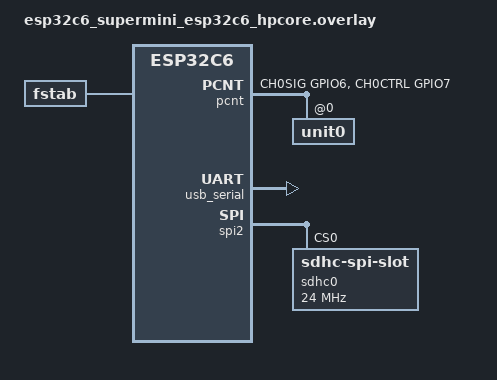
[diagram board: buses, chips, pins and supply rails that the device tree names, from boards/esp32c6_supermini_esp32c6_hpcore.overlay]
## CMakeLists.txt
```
cmake_minimum_required(VERSION 3.20.0)

if("${CMAKE_BUILD_TYPE}" STREQUAL "Debug")
    list(APPEND EXTRA_CONF_FILE debug.conf)
    set(NO_BUILD_TYPE_WARNING ON)
endif()

find_package(Zephyr REQUIRED HINTS $ENV{ZEPHYR_BASE})

project(app LANGUAGES C)
target_sources(app PRIVATE
    src/main.c
    src/sdcard.c
    src/audio.c
    src/mp3.c
    src/knob_uart.c
    src/libhelix-mp3/mp3dec.c
    src/libhelix-mp3/mp3tabs.c
    src/libhelix-mp3/real/bitstream.c
    src/libhelix-mp3/real/buffers.c
    src/libhelix-mp3/real/dct32.c
    src/libhelix-mp3/real/dequant.c
    src/libhelix-mp3/real/dqchan.c
    src/libhelix-mp3/real/huffman.c
    src/libhelix-mp3/real/hufftabs.c
    src/libhelix-mp3/real/imdct.c
    src/libhelix-mp3/real/polyphase.c
    src/libhelix-mp3/real/scalfact.c
    src/libhelix-mp3/real/stproc.c
    src/libhelix-mp3/real/subband.c
    src/libhelix-mp3/real/trigtabs.c
)
target_include_directories(app PRIVATE src/libhelix-mp3/pub)
```

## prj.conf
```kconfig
# CONFIG_IDLE_STACK_SIZE=4096
# CONFIG_SYSTEM_WORKQUEUE_STACK_SIZE=4096
# CONFIG_MAIN_STACK_SIZE=8192
CONFIG_SPEED_OPTIMIZATIONS=y
CONFIG_SENSOR=y

CONFIG_SPI=y
CONFIG_DISK_ACCESS=y
CONFIG_DISK_DRIVERS=y
CONFIG_FILE_SYSTEM=y

CONFIG_FAT_FILESYSTEM_ELM=y
CONFIG_FS_FATFS_FSTAB_AUTOMOUNT=y
CONFIG_FS_FATFS_MOUNT_MKFS=n
CONFIG_FS_FATFS_MAX_SS=512
CONFIG_FS_FATFS_MIN_SS=512
CONFIG_FS_FATFS_EXFAT=y
CONFIG_FS_FATFS_LBA64=y
CONFIG_FS_FATFS_LFN=y
CONFIG_FS_FATFS_NUM_FILES=104

CONFIG_MAIN_STACK_SIZE=4096

CONFIG_I2S=y
CONFIG_DMA=y
CONFIG_ADC=y

CONFIG_I2S_ESP32_TX_BLOCK_COUNT=8
CONFIG_I2S_ESP32_RX_BLOCK_COUNT=0
CONFIG_I2S_ESP32_ALLOWED_EMPTY_TX_QUEUE_DEFERRAL_TIME_MS=0
CONFIG_ENTROPY_GENERATOR=y
CONFIG_ENTROPY_ESP32_RNG=y

CONFIG_HEAP_MEM_POOL_SIZE=49152
```

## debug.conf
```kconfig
# Copyright (c) 2021 Nordic Semiconductor ASA
# SPDX-License-Identifier: Apache-2.0
#
# This is a Kconfig fragment which can be used to enable debug-related options
# in the application. See the README for more details.

# compiler
# CONFIG_DEBUG_OPTIMIZATIONS=y
# CONFIG_SIZE_OPTIMIZATIONS=y

CONFIG_THREAD_NAME=y

# logging
CONFIG_LOG=y
CONFIG_LOG_SPEED=y
CONFIG_LOG_BUFFER_SIZE=8192
CONFIG_LOG_BACKEND_SHOW_COLOR=y
CONFIG_LOG_INFO_COLOR_GREEN=y

# CONFIG_LOG_BACKEND_RTT=y
CONFIG_LOG_BACKEND_UART=y
CONFIG_LOG_BACKEND_UART_ASYNC=y
CONFIG_LOG_BACKEND_UART_BUFFER_SIZE=64

CONFIG_HW_STACK_PROTECTION=y
CONFIG_STACK_CANARIES=y
CONFIG_DEBUG_THREAD_INFO=y

# CONFIG_USE_SEGGER_RTT=y
# CONFIG_SEGGER_DEBUGMON=y

CONFIG_CONSOLE=y
CONFIG_UART_CONSOLE=y
# CONFIG_RTT_CONSOLE=y

# shell
CONFIG_SHELL=n
# CONFIG_SHELL_BACKEND_RTT=y
CONFIG_SHELL_BACKEND_SERIAL=y
CONFIG_SHELL_VT100_COLORS=y
CONFIG_SHELL_VT100_COMMANDS=y
# CONFIG_AUDIO_CODEC_SHELL=y

# Log levels
CONFIG_APP_LOG_LEVEL_DBG=y
# CONFIG_REGULATOR_LOG_LEVEL_DBG=y
# CONFIG_DISPLAY_LOG_LEVEL_DBG=y
# CONFIG_AUDIO_CODEC_LOG_LEVEL_DBG=y
CONFIG_I2S_LOG_LEVEL_WRN=y

# CONFIG_USBD_MIDI2_LOG_LEVEL_INF=y
# CONFIG_USBD_LOG_LEVEL_WRN=y
# CONFIG_USB_DRIVER_LOG_LEVEL_DBG=n
# CONFIG_UDC_DRIVER_LOG_LEVEL_DBG=n

CONFIG_ASSERT=y
# CONFIG_USE_STM32_ASSERT=y

# CONFIG_UART_LOG_LEVEL_DBG=y
# CONFIG_I2C_SHELL=y
```

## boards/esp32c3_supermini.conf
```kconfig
# C3 has no ADC or encoder
CONFIG_ADC=n
CONFIG_SENSOR=n

# UART for STM32 knob controller
CONFIG_SERIAL=y
CONFIG_UART_INTERRUPT_DRIVEN=y

# More I2S TX queue depth and tolerate brief empty periods without error recovery
# CONFIG_I2S_ESP32_TX_BLOCK_COUNT=3
CONFIG_I2S_ESP32_ALLOWED_EMPTY_TX_QUEUE_DEFERRAL_TIME_MS=10
```

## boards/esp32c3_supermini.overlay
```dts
/*
 * Application-specific device tree overlay for ESP32-C3 SuperMini
 */

/ {
	fstab {
		compatible = "zephyr,fstab";
		ffs1: ffs1 {
			compatible = "zephyr,fstab,fatfs";
			automount;
			disk-access;
			mount-point = "/SD:";
		};
	};

	zephyr,user {
		stm32-uart = <&uart1>;
	};
};

&pinctrl {
	uart0_default: uart0_default {
		group1 {
			pinmux = <UART0_TX_GPIO21>;
			output-high;
		};

		group2 {
			pinmux = <UART0_RX_GPIO20>;
			bias-pull-up;
		};
	};

	spim2_default: spim2_default {
		group1 {
			pinmux = <SPIM2_MISO_GPIO1>,
				 <SPIM2_SCLK_GPIO3>,
				 <SPIM2_CSEL_GPIO2>;
		};

		group2 {
			pinmux = <SPIM2_MOSI_GPIO4>;
			output-low;
		};
	};

	uart1_default: uart1_default {
		group1 {
			pinmux = <UART1_TX_GPIO0>;
			output-high;
		};

		group2 {
			pinmux = <UART1_RX_GPIO10>;
			bias-pull-up;
		};
	};

	i2s_default: i2s_default {
		group1 {
			pinmux = <I2S_O_BCK_GPIO7>,
				 <I2S_O_WS_GPIO5>,
				 <I2S_O_SD_GPIO6>;
			output-enable;
		};
	};
};

&trng0 {
	status = "okay";
};

&uart0 {
	status = "okay";
	current-speed = <115200>;
	pinctrl-0 = <&uart0_default>;
	pinctrl-names = "default";
};

&uart1 {
	status = "okay";
	// status = "disabled";
	current-speed = <115200>;
	pinctrl-0 = <&uart1_default>;
	pinctrl-names = "default";
};

&i2s {
	pinctrl-0 = <&i2s_default>;
	pinctrl-names = "default";
	status = "okay";

	dmas = <&dma 3>;
	dma-names = "tx";
};

&i2c0 {
	status = "disabled";
};

&spi2 {
	dmas = <&dma 0>, <&dma 1>;
	dma-names = "tx", "rx";

	sdhc0: sdhc@0 {
		compatible = "zephyr,sdhc-spi-slot";
		reg = <0>;
		status = "okay";
		spi-max-frequency = <32000000>;
		mmc {
			compatible = "zephyr,sdmmc-disk";
			disk-name = "SD";
			status = "okay";
		};
	};
};

&dma {
	status = "okay";
};
```

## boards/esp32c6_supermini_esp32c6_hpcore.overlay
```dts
/*
 * Application-specific device tree overlay for ESP32-C6 SuperMini
 */

/ {
	chosen {
		zephyr,console = &usb_serial;
		zephyr,shell-uart = &usb_serial;
	};

	aliases {
		qdec0 = &pcnt;
	};

	fstab {
		compatible = "zephyr,fstab";
		ffs1: ffs1 {
			compatible = "zephyr,fstab,fatfs";
			automount;
			disk-access;
			mount-point = "/SD:";
		};
	};
};

&pinctrl {
	pcnt_default: pcnt_default {
		group1 {
			pinmux = <PCNT0_CH0SIG_GPIO6>,
				 <PCNT0_CH0CTRL_GPIO7>;
			bias-pull-up;
		};
	};

	uart0_default: uart0_default {
		group1 {
			pinmux = <UART0_TX_GPIO16>;
			output-high;
		};

		group2 {
			pinmux = <UART0_RX_GPIO17>;
			bias-pull-up;
		};
	};

	spim2_default: spim2_default {
		group1 {
			pinmux = <SPIM2_MISO_GPIO1>,
				 <SPIM2_SCLK_GPIO2>,
				 <SPIM2_CSEL_GPIO4>;
		};

		group2 {
			pinmux = <SPIM2_MOSI_GPIO3>;
			output-low;
		};
	};

	i2s_default: i2s_default {
		group1 {
			pinmux = <I2S_O_BCK_GPIO19>,
				 <I2S_O_WS_GPIO18>,
				 <I2S_O_SD_GPIO20>;
			output-enable;
		};
	};
};

&pcnt {
	pinctrl-0 = <&pcnt_default>;
	pinctrl-names = "default";
	status = "okay";
	#address-cells = <1>;
	#size-cells = <0>;
	unit0@0 {
		reg = <0>;
		#address-cells = <1>;
		#size-cells = <0>;
		filter = <100>;
		channelA@0 {
			reg = <0>;
			sig-pos-mode = <2>;
			sig-neg-mode = <1>;
			ctrl-h-mode = <0>;
			ctrl-l-mode = <1>;
		};
	};
};

&usb_serial {
	status = "okay";
};

&spi2 {
	dmas = <&dma 0>, <&dma 1>;
	dma-names = "tx", "rx";

	sdhc0: sdhc@0 {
		compatible = "zephyr,sdhc-spi-slot";
		reg = <0>;
		status = "okay";
		spi-max-frequency = <24000000>;
		mmc {
			compatible = "zephyr,sdmmc-disk";
			disk-name = "SD";
			status = "okay";
		};
	};
};
```

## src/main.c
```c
#include <zephyr/logging/log.h>
#include <zephyr/kernel.h>
#include <zephyr/device.h>

#include "sdcard.h"
#include "audio.h"
#include "knob_uart.h"
#include "zephyr/sys/util.h"

LOG_MODULE_REGISTER(app, CONFIG_APP_LOG_LEVEL);

#define ENC_STEP_COUNT 100

static int position = 0;
static int file_count = 0;

static void on_encoder_position(int p)
{
	position = p;
}

#if DT_NODE_HAS_PROP(DT_PATH(zephyr_user), io_channels)
#include <zephyr/drivers/adc.h>

static const struct adc_dt_spec volume_adc = ADC_DT_SPEC_GET_BY_IDX(DT_PATH(zephyr_user), 0);
static int16_t adc_raw_buf;
static struct adc_sequence adc_seq = {
	.buffer = &adc_raw_buf,
	.buffer_size = sizeof(adc_raw_buf),
};

static uint16_t read_volume_q8(void)
{
	int rc = adc_read_dt(&volume_adc, &adc_seq);
	if (rc < 0) {
		return 255; /* full volume on error */
	}
	int32_t val = CLAMP((int32_t)adc_raw_buf, 0, 4095);
	return (uint16_t)((val * 256) / 4095);
}

#else

static uint16_t read_volume_q8(void)
{
	return 256; /* full volume when no ADC */
}

#endif /* DT_NODE_HAS_PROP(DT_PATH(zephyr_user), io_channels) */

#if DT_HAS_ALIAS(qdec0)
#include <zephyr/drivers/sensor.h>
#endif

int main(void)
{
	LOG_INF("Hello world");
	knob_uart_init(on_encoder_position);
	sdcard_init();
	audio_init();

	file_count = sdcard_get_audio_count();

#if DT_NODE_HAS_PROP(DT_PATH(zephyr_user), io_channels)
	if (!adc_is_ready_dt(&volume_adc)) {
		LOG_ERR("ADC not ready");
		return -ENODEV;
	}

	int rc = adc_channel_setup_dt(&volume_adc);
	if (rc < 0) {
		LOG_ERR("ADC channel setup failed: %d", rc);
		return rc;
	}

	adc_sequence_init_dt(&volume_adc, &adc_seq);
#endif

#if DT_HAS_ALIAS(qdec0)
	const struct device *const qdec = DEVICE_DT_GET(DT_ALIAS(qdec0));

	if (!device_is_ready(qdec)) {
		LOG_INF("Qdec device is not ready");
		return 0;
	}
#endif

	int last_position = -1;
	bool idle = false;
	int64_t zero_vol_since = 0;

	while (true) {
		k_msleep(idle ? 1000 : 10);

		uint16_t vol = read_volume_q8();
		audio_set_volume(vol);

		if (!idle) {
			/* Track how long volume has been zero */
			if (vol == 0) {
				if (zero_vol_since == 0) {
					zero_vol_since = k_uptime_get();
				} else if (k_uptime_get() - zero_vol_since >= 5000) {
					audio_stop();
					idle = true;
					LOG_INF("Entering idle mode");
					continue;
				}
			} else {
				zero_vol_since = 0;
			}
		} else {
			/* Idle: check if volume came back */
			if (vol > 0) {
				idle = false;
				zero_vol_since = 0;
				audio_start();
				/* Re-select current file */
				if (file_count > 0 && last_position >= 0) {
					int i = last_position % file_count;
					audio_set_file(sdcard_get_audio_info(i));
				}
				LOG_INF("Leaving idle mode");
			}
		}

#if DT_HAS_ALIAS(qdec0)
		int enc_rc = sensor_sample_fetch(qdec);
		if (enc_rc != 0) {
			LOG_INF("Failed to fetch sample (%d)", enc_rc);
			return 0;
		}

		struct sensor_value val;

		enc_rc = sensor_channel_get(qdec, SENSOR_CHAN_ROTATION, &val);
		if (enc_rc != 0) {
			LOG_INF("Failed to get data (%d)", enc_rc);
			return 0;
		}
		int p = (((val.val1 / 2) % ENC_STEP_COUNT) + ENC_STEP_COUNT) % ENC_STEP_COUNT;

		on_encoder_position(p);
#endif /* DT_HAS_ALIAS(qdec0) */

 		if (file_count <= 0) {
 			continue;
 		}

 		if (position != last_position) {
			int i = position % file_count;
			struct sdcard_audio_info *info = sdcard_get_audio_info(i);
			LOG_INF("position %d, File %d: %s", position, i, info->path);
			audio_set_file(info);
 			last_position = position;
 		}
	}

	return 0;
}
```

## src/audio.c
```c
#include <zephyr/logging/log.h>
#include <zephyr/kernel.h>
#include <zephyr/device.h>
#include <zephyr/drivers/i2s.h>
#include <zephyr/fs/fs.h>
#include <stdlib.h>
#include <string.h>

#include "audio.h"
#include "mp3.h"
#include "zephyr/random/random.h"

LOG_MODULE_REGISTER(audio, CONFIG_APP_LOG_LEVEL);

#define BLOCK_SIZE        (4096 * 2)
#define BLOCK_COUNT       8
#define DECODE_STACK_SIZE (4096 * 2)
#define I2S_STACK_SIZE    (4096 * 2)
#define DECODE_PRIO       (K_HIGHEST_APPLICATION_THREAD_PRIO + 1)
#define I2S_PRIO          K_HIGHEST_APPLICATION_THREAD_PRIO
#define PREQUEUE_BLOCKS   2

/* PCM pipe: stream of interleaved stereo int16_t pairs, ~4 frames of headroom */
// #define PCM_PIPE_SIZE (MP3_PCM_BUF_SAMPLES * sizeof(int16_t) * 2)

K_MEM_SLAB_DEFINE(i2s_mem_slab, BLOCK_SIZE, BLOCK_COUNT, 64);
// K_PIPE_DEFINE(pcm_pipe, PCM_PIPE_SIZE, 64);

static const struct device *i2s_dev = DEVICE_DT_GET(DT_NODELABEL(i2s));

/* Volume: written from main thread, read from i2s thread */
static volatile uint16_t current_volume_q8 = 0;

/* File change: written from API, consumed by decode thread */
static struct sdcard_audio_info *volatile pending_info;
static struct k_sem file_change_sem;

/* Synchronized playback position (stereo samples per channel pushed into pipe) */
static uint64_t global_sample_counter;

/* --- Shared state --- */

static bool i2s_started;
static bool stopped;
static int queued;

/* --- Helpers --- */

static int configure_i2s()
{
	struct i2s_config cfg = {
		.word_size = 16,
		.channels = 2,
		.format = I2S_FMT_DATA_FORMAT_I2S,
		.options = I2S_OPT_BIT_CLK_MASTER | I2S_OPT_FRAME_CLK_MASTER,
		.frame_clk_freq = 44100,
		.mem_slab = &i2s_mem_slab,
		.block_size = BLOCK_SIZE,
		.timeout = 10,
	};

	return i2s_configure(i2s_dev, I2S_DIR_TX, &cfg);
}

/* --- Decode thread --- */

static void decode_thread_fn(void *p1, void *p2, void *p3)
{
	ARG_UNUSED(p1);
	ARG_UNUSED(p2);
	ARG_UNUSED(p3);

	global_sample_counter = sys_rand32_get();

	static int16_t pcm_buf[MP3_PCM_BUF_SAMPLES];

	if (mp3_decoder_init() < 0) {
		return;
	}

	/* Wait for first file */
	k_sem_take(&file_change_sem, K_FOREVER);

	struct sdcard_audio_info *info = pending_info;
	pending_info = NULL;

	if (mp3_switch_file(info, global_sample_counter) < 0) {
		LOG_ERR("Failed to open initial file");
		return;
	}

	while (true) {
		int pcm_buf_avail = 0;
		// k_msleep(1)
		/* Check for file change (non-blocking) */
		if (k_sem_take(&file_change_sem, K_NO_WAIT) == 0) {
			uint32_t t_switch_start = k_uptime_ticks();

			info = pending_info;
			pending_info = NULL;
			if (mp3_switch_file(info, global_sample_counter) < 0) {
				LOG_ERR("Failed to switch file, continuing");
			}
			uint32_t t_opened = k_uptime_ticks();

			pcm_buf_avail = mp3_decode_frame(pcm_buf);
			uint32_t t_first_decode = k_uptime_ticks();

			LOG_INF("file switch: open=%u us, first_decode=%u us, total=%u us",
				k_ticks_to_us_near32(t_opened - t_switch_start),
				k_ticks_to_us_near32(t_first_decode - t_opened),
				k_ticks_to_us_near32(k_uptime_ticks() - t_switch_start));
		} else {
			pcm_buf_avail = mp3_decode_frame(pcm_buf);
		}

		if (pcm_buf_avail == 0) {
			LOG_ERR("No PCM Bytes");
			k_msleep(1);
			continue;
		}

		// Apply replaygain if negative
		// if (info->rg_multiplier_q16 < (0xFFFF)) {
		// 	for (int i = 0; i < pcm_buf_avail; i++) {
		// 		pcm_buf[i] = ((int32_t)pcm_buf[i] * info->rg_multiplier_q16) >> 16;
		// 	}
		// }

		// size_t bytes = pcm_buf_avail * sizeof(int16_t);
		// int wrote = k_pipe_write(&pcm_pipe, (uint8_t *)pcm_buf, bytes, K_FOREVER);
		// if (wrote != bytes) {
		// 	LOG_WRN("Wrote wrong number of bytes: %d != %d", wrote, bytes);
		// }

		/* Track decoded samples per channel for seek-on-switch.
		 * pcm_buf_avail is total interleaved int16_t (L+R), so /2 per channel. */
		global_sample_counter += pcm_buf_avail / 2;
		// k_msleep(20);
	}
}

/* --- I2S thread --- */

static void i2s_thread_fn(void *p1, void *p2, void *p3)
{
	ARG_UNUSED(p1);
	ARG_UNUSED(p2);
	ARG_UNUSED(p3);

	int volume = 0;
	uint32_t gain_q16 = 0;

	global_sample_counter = sys_rand32_get();

	static int16_t carry_buf[MP3_PCM_BUF_SAMPLES];
	static int carry_avail = 0;
	const int samples_per_block = BLOCK_SIZE / sizeof(int16_t);

	if (mp3_decoder_init() < 0) {
		return;
	}

	/* Wait for first file */
	k_sem_take(&file_change_sem, K_FOREVER);

	struct sdcard_audio_info *info = pending_info;
	pending_info = NULL;

	if (mp3_switch_file(info, global_sample_counter) < 0) {
		LOG_ERR("Failed to open initial file");
		return;
	}

	int rc = configure_i2s();
	if (rc < 0) {
		LOG_ERR("I2S configure failed: %d", rc);
	}

	while (true) {
		// static int16_t interbuf[BLOCK_SIZE / sizeof(int32_t)];
		//

		int16_t *buf;
		int rc = k_mem_slab_alloc(&i2s_mem_slab, (void **)&buf, K_MSEC(1000));
		if (rc < 0) {
			LOG_ERR("Buffer alloc failed: %d", rc);
			// k_msleep(1);
			continue;
		}

		// k_msleep(1)
		/* Check for file change (non-blocking) */
		if (k_sem_take(&file_change_sem, K_NO_WAIT) == 0) {
			uint32_t t_switch_start = k_uptime_ticks();

			info = pending_info;
			pending_info = NULL;
			if (mp3_switch_file(info, global_sample_counter) < 0) {
				LOG_ERR("Failed to switch file, continuing");
			}
			uint32_t t_opened = k_uptime_ticks();

			// pcm_buf_avail = mp3_decode_frame(carry_buf);
			// uint32_t t_first_decode = k_uptime_ticks();

			// LOG_INF("file switch: open=%u us, first_decode=%u us, total=%u us",
			// 	k_ticks_to_us_near32(t_opened - t_switch_start),
			// 	k_ticks_to_us_near32(t_first_decode - t_opened),
			// 	k_ticks_to_us_near32(k_uptime_ticks() - t_switch_start));
		}

		/* Fill slab block: copy carry from previous iteration, then decode
		 * directly into the slab buffer. Use carry_buf only for the boundary
		 * frame that would overflow the block. */
		int filled = 0;

		if (carry_avail > 0) {
			int to_copy = MIN(carry_avail, samples_per_block);
			memcpy(buf, carry_buf, to_copy * sizeof(int16_t));
			filled += to_copy;
			carry_avail -= to_copy;
			if (carry_avail > 0) {
				memmove(carry_buf, carry_buf + to_copy,
					carry_avail * sizeof(int16_t));
			}
		}

		while (filled < samples_per_block) {
			int remaining = samples_per_block - filled;
			if (remaining >= MP3_PCM_BUF_SAMPLES) {
				/* Decode directly into slab */
				int decoded = mp3_decode_frame(buf + filled);
				if (decoded == 0) {
					// k_msleep(1);
					continue;
				}
				filled += decoded;
			} else {
				/* Boundary: decode into temp, split */
				int decoded = mp3_decode_frame(carry_buf);
				if (decoded == 0) {
					// k_msleep(1);
					continue;
				}
				int to_copy = MIN(decoded, remaining);
				memcpy(buf + filled, carry_buf,
				       to_copy * sizeof(int16_t));
				filled += to_copy;
				carry_avail = decoded - to_copy;
				if (carry_avail > 0) {
					memmove(carry_buf, carry_buf + to_copy,
						carry_avail * sizeof(int16_t));
				}
			}
		}

		// if (pcm_buf_avail == 0) {
		// 	LOG_ERR("No PCM Bytes");
		// 	k_mem_slab_free(&i2s_mem_slab, &buf);
		// 	k_msleep(1);
		// 	continue;
		// }

		// Apply replaygain if negative
		// if (info->rg_multiplier_q16 < (0xFFFF)) {
		// 	for (int i = 0; i < pcm_buf_avail; i++) {
		// 		pcm_buf[i] = ((int32_t)pcm_buf[i] * info->rg_multiplier_q16) >> 16;
		// 	}
		// }

		// size_t bytes = pcm_buf_avail * sizeof(int16_t);
		// int wrote = k_pipe_write(&pcm_pipe, (uint8_t *)pcm_buf, bytes, K_FOREVER);
		// if (wrote != bytes) {
		// 	LOG_WRN("Wrote wrong number of bytes: %d != %d", wrote, bytes);
		// }

		/* Track decoded samples per channel for seek-on-switch.
		 * samples_per_block is total interleaved int16_t (L+R), so /2 per channel. */
		global_sample_counter += samples_per_block / 2;

		// Limit volume change rate
		const int vol_rate = 8;
		volume = volume + CLAMP(current_volume_q8 - volume, -vol_rate, vol_rate);
		uint32_t gain_q16 = (uint32_t)volume * volume;

		/* Read a full block of stereo int16 samples directly into the I2S buffer.
		 * Blocks until the decode thread has produced enough data. */
		// int bytes_read =
		// 	k_pipe_read(&pcm_pipe, (uint8_t *)interbuf, sizeof(interbuf), K_NO_WAIT);
		// int bytes_read =
		// 	k_pipe_read(&pcm_pipe, (uint8_t *)buf, BLOCK_SIZE, K_MSEC(1000));

		// if (bytes_read == sizeof(interbuf)) {
		// 	/* Apply volume scaling in-place: square for perceptual response */
		// 	for (size_t i = 0; i < BLOCK_SIZE / sizeof(int32_t); i++) {
		// 		buf[i] = ((int32_t)interbuf[i] * gain_q16);
		// 	}
		// } else {
		// 	if (bytes_read < 0) {
		// 		LOG_ERR("PCM pipe read failed: %d", rc);
		// 	}
		// 	memset(buf, 0, BLOCK_SIZE);
		// }

		rc = i2s_write(i2s_dev, buf, BLOCK_SIZE);
		if (rc < 0) {
			k_mem_slab_free(&i2s_mem_slab, buf);
			LOG_WRN("I2S write failed (%d), recovering", rc);
			i2s_trigger(i2s_dev, I2S_DIR_TX, I2S_TRIGGER_DROP);
			i2s_trigger(i2s_dev, I2S_DIR_TX, I2S_TRIGGER_PREPARE);
			i2s_started = false;
			queued = 0;
			continue;
		}

		queued++;

		if (!i2s_started && queued == PREQUEUE_BLOCKS) {
			rc = i2s_trigger(i2s_dev, I2S_DIR_TX, I2S_TRIGGER_START);
			if (rc < 0) {
				LOG_ERR("I2S start failed: %d", rc);
				return;
			}
			i2s_started = true;
			LOG_INF("I2S playback started");
		}

		// k_msleep(10);
	}
}

/* --- Thread definitions --- */

// K_THREAD_STACK_DEFINE(decode_thread_stack, DECODE_STACK_SIZE);
// static struct k_thread decode_thread_data;

K_THREAD_STACK_DEFINE(i2s_thread_stack, I2S_STACK_SIZE);
static struct k_thread i2s_thread_data;

int audio_init(void)
{
	if (!device_is_ready(i2s_dev)) {
		LOG_ERR("I2S device not ready");
		return -ENODEV;
	}

	k_sem_init(&file_change_sem, 0, 1);

	// k_thread_create(&decode_thread_data, decode_thread_stack,
	// 		K_THREAD_STACK_SIZEOF(decode_thread_stack), decode_thread_fn, NULL, NULL,
	// 		NULL, DECODE_PRIO, 0, K_NO_WAIT);
	// k_thread_name_set(&decode_thread_data, "mp3_decode");

	k_thread_create(&i2s_thread_data, i2s_thread_stack, K_THREAD_STACK_SIZEOF(i2s_thread_stack),
			i2s_thread_fn, NULL, NULL, NULL, I2S_PRIO, 0, K_NO_WAIT);
	k_thread_name_set(&i2s_thread_data, "i2s_out");

	LOG_INF("Audio initialized");
	return 0;
}

int audio_set_file(struct sdcard_audio_info *info)
{
	pending_info = info;
	k_sem_give(&file_change_sem);
	return 0;
}

void audio_set_volume(uint16_t volume_q8)
{
	current_volume_q8 = volume_q8;
}

void audio_stop(void)
{
	stopped = true;
	k_thread_suspend(&decode_thread_data);
	k_thread_suspend(&i2s_thread_data);
	i2s_trigger(i2s_dev, I2S_DIR_TX, I2S_TRIGGER_DROP);
	i2s_started = false;

	/* Flush the PCM pipe */
	uint8_t trash[256];
	while (k_pipe_read(&pcm_pipe, trash, sizeof(trash), K_NO_WAIT) > 0) {
	}

	LOG_INF("Audio stopped");
}

void audio_start(void)
{
	stopped = false;

	/* Re-configure I2S after DROP */
	configure_i2s();

	/* Flush pipe and reset I2S state */
	k_pipe_reset(&pcm_pipe);
	i2s_started = false;
	queued = 0;

	k_thread_resume(&decode_thread_data);
	k_thread_resume(&i2s_thread_data);

	LOG_INF("Audio started");
}
```

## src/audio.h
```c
#pragma once

#include "sdcard.h"

int audio_init(void);
int audio_set_file(struct sdcard_audio_info *info);
void audio_set_volume(uint16_t volume_q8);
void audio_stop(void);
void audio_start(void);
```

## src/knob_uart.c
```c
#include "knob_uart.h"

#include <zephyr/kernel.h>
#include <zephyr/device.h>
#include <zephyr/devicetree.h>
#include <zephyr/drivers/uart.h>
#include <zephyr/logging/log.h>

#include <stdlib.h>

LOG_MODULE_REGISTER(knob_uart, CONFIG_APP_LOG_LEVEL);

#define ZEPHYR_USER_NODE DT_PATH(zephyr_user)

#if DT_NODE_HAS_PROP(ZEPHYR_USER_NODE, stm32_uart)

#define KNOB_UART_NODE DT_PROP(ZEPHYR_USER_NODE, stm32_uart)

#define RX_BUF_SIZE 64

static const struct device *const uart_dev = DEVICE_DT_GET(KNOB_UART_NODE);
static uint8_t rx_buf[RX_BUF_SIZE];
static uint8_t rx_pos;
static knob_uart_position_cb_t position_cb;

static K_SEM_DEFINE(rx_sem, 0, 1);

static void uart_isr(const struct device *dev, void *user_data)
{
	ARG_UNUSED(user_data);

	while (uart_irq_update(dev) && uart_irq_is_pending(dev)) {
		if (!uart_irq_rx_ready(dev)) {
			continue;
		}

		uint8_t buf[16];
		int len = uart_fifo_read(dev, buf, sizeof(buf));

		for (int i = 0; i < len; i++) {
			if (rx_pos < RX_BUF_SIZE - 1) {
				rx_buf[rx_pos++] = buf[i];
			}
			if (buf[i] == '\n' || rx_pos >= RX_BUF_SIZE - 1) {
				rx_buf[rx_pos] = '\0';
				k_sem_give(&rx_sem);
			}
		}
	}
}

static void knob_uart_thread(void *p1, void *p2, void *p3)
{
	ARG_UNUSED(p1);
	ARG_UNUSED(p2);
	ARG_UNUSED(p3);

	while (true) {
		k_sem_take(&rx_sem, K_FOREVER);
		switch (rx_buf[0]) {
		case 'E': {
			// Parse "E:<HEX>" — hex string is the encoder position
			if (rx_buf[1] == ':' && position_cb != NULL) {
				LOG_INF("STM: %s", rx_buf);
				position_cb((int)strtol((char *)&rx_buf[2], NULL, 16));
			} else if (rx_buf[1] != ':') {
				LOG_WRN("Malformed E msg: %s", rx_buf);
			}
			break;
		}

		default:
			LOG_WRN("Unknown msg %s", rx_buf);
		}
		rx_pos = 0;
	}
}

K_THREAD_STACK_DEFINE(knob_uart_stack, 1024);
static struct k_thread knob_uart_thread_data;

void knob_uart_init(knob_uart_position_cb_t cb)
{
	position_cb = cb;

	if (!device_is_ready(uart_dev)) {
		LOG_ERR("UART device not ready");
		return;
	}

	uart_irq_callback_set(uart_dev, uart_isr);
	uart_irq_rx_enable(uart_dev);

	k_thread_create(&knob_uart_thread_data, knob_uart_stack,
			K_THREAD_STACK_SIZEOF(knob_uart_stack), knob_uart_thread, NULL, NULL, NULL,
			K_PRIO_COOP(7), 0, K_NO_WAIT);
	k_thread_name_set(&knob_uart_thread_data, "knob_uart");

	LOG_INF("Knob UART initialized");
}

#else

void knob_uart_init(knob_uart_position_cb_t cb)
{
	ARG_UNUSED(cb);
}

#endif /* DT_NODE_HAS_PROP(ZEPHYR_USER_NODE, stm32_uart) */
```

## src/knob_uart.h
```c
#pragma once

typedef void (*knob_uart_position_cb_t)(int raw_position);

/**
 * Initialize the STM32 knob UART listener.
 * @param position_cb Called with the raw encoder position on each 'E' message.
 */
void knob_uart_init(knob_uart_position_cb_t position_cb);
```

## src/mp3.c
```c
#include <zephyr/logging/log.h>
#include <zephyr/kernel.h>
#include <zephyr/fs/fs.h>
#include <math.h>
#include <string.h>

#include <mp3dec.h>
#include <mp3common.h>

#include "mp3.h"
#include "libhelix-mp3/pub/mp3common.h"

LOG_MODULE_REGISTER(mp3, CONFIG_APP_LOG_LEVEL);

/* MP3 input buffer: large enough to hold >1 full frame (max ~1441 bytes) */
#define MP3_BUF_SIZE 4096

/* --- Header parsing tables --- */

/* MP3 bitrate table (kbps) indexed by bitrate_index (1..14), MPEG1 Layer3 */
static const uint32_t mp3_bitrate_table[16] = {
	0, 32, 40, 48, 56, 64, 80, 96, 112, 128, 160, 192, 224, 256, 320, 0
};

/* MP3 samplerate table indexed by samplerate_index (0..2), MPEG1 */
static const uint32_t mp3_samplerate_table[4] = {44100, 48000, 32000, 0};

/* Decode ID3v2 syncsafe size (4 bytes, 7 bits each) */
static uint32_t id3_syncsafe(const uint8_t *b)
{
	return ((uint32_t)b[0] << 21) |
	       ((uint32_t)b[1] << 14) |
	       ((uint32_t)b[2] << 7)  |
	       ((uint32_t)b[3]);
}

/* Parse ReplayGain from the LAME extension in a Xing/Info header.
 * buf points to the start of the first MP3 frame, len is bytes available.
 * channel_mode: 0-2 = stereo variants, 3 = mono (affects side info size). */
static int16_t lame_parse_replaygain(const uint8_t *buf, int len, uint8_t channel_mode)
{
	/* Side information size for MPEG1: 32 bytes stereo, 17 bytes mono */
	int side_info_size = (channel_mode == 3) ? 17 : 32;
	int xing_offset = 4 + side_info_size; /* frame header + side info */

	if (xing_offset + 4 > len) return 0;

	/* Check for Xing or Info tag */
	if (memcmp(buf + xing_offset, "Xing", 4) != 0 &&
	    memcmp(buf + xing_offset, "Info", 4) != 0) {
		return 0;
	}

	/* Parse Xing flags to find where the LAME tag starts */
	int pos = xing_offset + 4; /* past "Xing"/"Info" */
	if (pos + 4 > len) return 0;

	uint32_t xing_flags = ((uint32_t)buf[pos] << 24) | ((uint32_t)buf[pos + 1] << 16) |
			      ((uint32_t)buf[pos + 2] << 8) | buf[pos + 3];
	pos += 4;

	if (xing_flags & 0x01) pos += 4;   /* frames count */
	if (xing_flags & 0x02) pos += 4;   /* bytes count */
	if (xing_flags & 0x04) pos += 100; /* TOC */
	if (xing_flags & 0x08) pos += 4;   /* quality indicator */

	/* LAME tag: 9-byte version string, then extension data.
	 * ReplayGain fields at offset +15 (radio) and +17 (audiophile) from LAME tag start.
	 * Layout from LAME tag start:
	 *   +0:  9 bytes  encoder version string
	 *   +9:  1 byte   info tag revision / VBR method
	 *   +10: 1 byte   lowpass filter value
	 *   +11: 4 bytes  replay gain peak signal amplitude
	 *   +15: 2 bytes  radio (track) replay gain
	 *   +17: 2 bytes  audiophile (album) replay gain
	 */
	int lame_start = pos;
	if (lame_start + 19 > len) return 0;

	/* Verify it looks like a LAME tag (starts with "LAME" or "Lavf" or similar encoder) */
	/* We don't strictly require "LAME" — just check the gain fields are valid */

	/* Replay gain fields: 16 bits big-endian each
	 *   bits 15-13: name (001 = radio/track, 010 = audiophile/album)
	 *   bits 12-10: originator
	 *   bit 9:      sign (1 = negative)
	 *   bits 8-0:   absolute gain in tenths of dB */
	uint16_t album_rg = ((uint16_t)buf[lame_start + 17] << 8) | buf[lame_start + 18];
	uint8_t album_name = (album_rg >> 13) & 0x07;
	uint8_t album_sign = (album_rg >> 9) & 0x01;
	int16_t album_abs = album_rg & 0x01FF;

	/* Prefer album gain (name == 2), fall back to track gain (name == 1) */
	if (album_name == 2 && album_abs != 0) {
		return album_sign ? -album_abs : album_abs;
	}

	uint16_t track_rg = ((uint16_t)buf[lame_start + 15] << 8) | buf[lame_start + 16];
	uint8_t track_name = (track_rg >> 13) & 0x07;
	uint8_t track_sign = (track_rg >> 9) & 0x01;
	int16_t track_abs = track_rg & 0x01FF;

	if (track_name == 1 && track_abs != 0) {
		return track_sign ? -track_abs : track_abs;
	}

	return 0;
}

int mp3_parse_header(struct sdcard_audio_info *info)
{
	struct fs_file_t *f = &info->file;
	struct fs_dirent stat;
	uint8_t hdr[10];
	off_t data_start = 0;
	int rc;

	/* Read first 10 bytes to check for ID3v2 tag */
	rc = fs_read(f, hdr, 10);
	if (rc < 10) {
		return -EINVAL;
	}

	if (hdr[0] == 'I' && hdr[1] == 'D' && hdr[2] == '3') {
		/* ID3v2 tag present: skip it */
		uint32_t tag_size = id3_syncsafe(&hdr[6]);
		data_start = 10 + (off_t)tag_size;
		/* Check for extended footer (bit 4 of flags byte) */
		if (hdr[5] & 0x10) {
			data_start += 10;
		}
	}

	/* Seek to first MP3 frame */
	rc = fs_seek(f, data_start, FS_SEEK_SET);
	if (rc < 0) {
		return -EINVAL;
	}

	/* Read 4-byte frame header */
	uint8_t fh[4];
	rc = fs_read(f, fh, 4);
	if (rc < 4) {
		return -EINVAL;
	}

	/* Validate sync word (0xFFE0 = sync bits for MPEG audio) */
	if ((fh[0] != 0xFF) || ((fh[1] & 0xE0) != 0xE0)) {
		return -EINVAL;
	}

	/* MPEG version: bits 4-3 of byte 1; 0b11 = MPEG1 */
	uint8_t mpeg_version = (fh[1] >> 3) & 0x3;
	if (mpeg_version != 3) {
		/* Only MPEG1 supported */
		return -EINVAL;
	}

	/* Layer: bits 2-1 of byte 1; 0b01 = Layer3 */
	uint8_t layer = (fh[1] >> 1) & 0x3;
	if (layer != 1) {
		return -EINVAL;
	}

	/* Bitrate index: bits 7-4 of byte 2 */
	uint8_t br_idx = (fh[2] >> 4) & 0xF;
	if (br_idx == 0 || br_idx == 15) {
		return -EINVAL; /* free or bad */
	}
	uint32_t bitrate_bps = mp3_bitrate_table[br_idx] * 1000;

	/* Samplerate index: bits 3-2 of byte 2 */
	uint8_t sr_idx = (fh[2] >> 2) & 0x3;
	uint32_t samplerate = mp3_samplerate_table[sr_idx];
	if (samplerate == 0) {
		return -EINVAL;
	}

	/* Channel mode: bits 7-6 of byte 3; 3 = mono */
	uint8_t channel_mode = (fh[3] >> 6) & 0x3;
	uint16_t channels = (channel_mode == 3) ? 1 : 2;

	uint32_t avg_frame_bytes = (144 * bitrate_bps) / samplerate;
	uint32_t frame_bytes_num = 144 * bitrate_bps;

	int16_t replaygain_tenth_db = 0;

	/* Read the first frame to parse Xing/LAME header for ReplayGain */
	{
		uint8_t frame_buf[256];
		/* We already read 4 bytes of the frame header */
		memcpy(frame_buf, fh, 4);
		int to_read = sizeof(frame_buf) - 4;
		rc = fs_read(f, frame_buf + 4, to_read);
		if (rc > 0) {
			replaygain_tenth_db =
				lame_parse_replaygain(frame_buf, 4 + rc, channel_mode);
			if (replaygain_tenth_db != 0) {
				LOG_INF("ReplayGain: %s%d.%d dB",
					replaygain_tenth_db < 0 ? "-" : "",
					(replaygain_tenth_db < 0
						 ? -replaygain_tenth_db
						 : replaygain_tenth_db) / 10,
					(replaygain_tenth_db < 0
						 ? -replaygain_tenth_db
						 : replaygain_tenth_db) % 10);
			}
		}
	}

	/* Convert dB to Q15 linear multiplier */
	float gain_db = replaygain_tenth_db / 10.0f;
	info->rg_multiplier_q16 = (uint32_t)(powf(10.0f, gain_db / 20.0f) * 65536.0f);

	/* Estimate total samples from file size */
	rc = fs_stat(info->path, &stat);
	if (rc < 0) {
		return rc;
	}

	uint32_t audio_bytes = (uint32_t)(stat.size - data_start);
	uint32_t total_frames = audio_bytes / avg_frame_bytes;
	uint32_t total_samples = total_frames * 1152; /* 1152 samples/frame for MPEG1 */

	info->samplerate      = samplerate;
	info->channels        = channels;
	info->total_samples   = total_samples;
	info->data_start      = data_start;
	info->frame_bytes_num = frame_bytes_num;

	return 0;
}

/* --- Decoder state --- */

static HMP3Decoder mp3_dec;
static uint8_t mp3_buf[MP3_BUF_SIZE];
static int mp3_buf_len;
static struct sdcard_audio_info *cur_info;

/* Clear the bit reservoir so stale data from a previous file/position
 * does not corrupt decoding of the new stream. */
static void mp3_clear_bit_reservoir(void)
{
	MP3DecInfo *dec = (MP3DecInfo *)mp3_dec;
	memset(dec->mainBuf, 0, MAINBUF_SIZE);
	dec->mainDataBytes = 0;
}

/* Refill mp3_buf from file up to MP3_BUF_SIZE bytes */
static int mp3_buf_fill(void)
{
	int space = MP3_BUF_SIZE - mp3_buf_len;
	if (space <= 0) {
		return 0;
	}

	if (space < 512) return 0;

	int rc = fs_read(&cur_info->file, mp3_buf + mp3_buf_len, space);
	if (rc < 0) {
		LOG_WRN("SD read error: %d", rc);
		return rc;
	}
	if (rc == 0) {
		/* EOF — discard stale data and loop with a clean bit reservoir */
		mp3_buf_len = 0;
		mp3_clear_bit_reservoir();
		fs_seek(&cur_info->file, cur_info->data_start, FS_SEEK_SET);
		rc = fs_read(&cur_info->file, mp3_buf, MP3_BUF_SIZE);
		if (rc < 0) {
			LOG_WRN("SD read error after loop: %d", rc);
			return rc;
		}
		LOG_DBG("EOF loop: decoder reset");
	}
	mp3_buf_len += rc;
	return 0;
}

int mp3_decoder_init(void)
{
	mp3_dec = MP3InitDecoder();
	if (!mp3_dec) {
		LOG_ERR("MP3InitDecoder failed");
		return -ENOMEM;
	}
	return 0;
}

int mp3_switch_file(struct sdcard_audio_info *info, uint64_t global_sample_counter)
{
	uint32_t t_start = k_uptime_ticks();
	uint32_t t_seek, t_read;

	cur_info = info;

	/* Seek to position matching global_sample_counter */
	if (info->total_samples > 0) {
		uint32_t seek_sample = (uint32_t)(global_sample_counter % info->total_samples);
		uint32_t seek_frame = seek_sample / 1152;
		/* Rounded rational arithmetic: avoids floor-division accumulation error */
		off_t byte_offset =
			info->data_start + (off_t)(((uint64_t)seek_frame * info->frame_bytes_num +
						    info->samplerate / 2) /
						   info->samplerate);
		fs_seek(&info->file, byte_offset, FS_SEEK_SET);
	} else {
		fs_seek(&info->file, info->data_start, FS_SEEK_SET);
	}
	t_seek = k_uptime_ticks();

	/* Discard stale compressed data and clear the bit reservoir */
	mp3_buf_len = 0;
	mp3_clear_bit_reservoir();

	mp3_buf_fill();
	t_read = k_uptime_ticks();

	LOG_INF("switch_mp3 %s - gain %d: seek=%u us, read=%u us, total=%u us", info->path,
		info->rg_multiplier_q16,
		k_ticks_to_us_near32(t_seek - t_start), k_ticks_to_us_near32(t_read - t_seek),
		k_ticks_to_us_near32(t_read - t_start));

	return 0;
}

int16_t mp3_decode_frame(int16_t *buf)
{
	int err;
	int skipped_bytes = 0;
	int maindata_underflows = 0;
	int indata_underflows = 0;
	int other_errors = 0;

	uint32_t t0_us = k_ticks_to_us_near32(k_uptime_ticks());

	for (int attempts = 0; attempts < 16; attempts++) {
		/* Top up compressed buffer */
		mp3_buf_fill();

		/* Find next sync word */
		int offset = MP3FindSyncWord(mp3_buf, mp3_buf_len);
		if (offset < 0) {
			LOG_WRN("No sync");
			/* No sync found — discard buffer and retry */
			skipped_bytes += mp3_buf_len;
			mp3_buf_len = 0;
			continue;
		}
		if (offset > 0) {
			skipped_bytes += offset;
			memmove(mp3_buf, mp3_buf + offset, mp3_buf_len - offset);
			mp3_buf_len -= offset;
		}

		/* Decode one frame */
		unsigned char *read_ptr = mp3_buf;
		int bytes_left = mp3_buf_len;

		err = MP3Decode(mp3_dec, &read_ptr, &bytes_left, buf, 0);

		/* Update buffer: consume bytes that the decoder advanced past */
		int consumed = mp3_buf_len - bytes_left;
		if (consumed > 0) {
			memmove(mp3_buf, mp3_buf + consumed, bytes_left);
			mp3_buf_len = bytes_left;
		}

		if (err == ERR_MP3_NONE) {
			MP3FrameInfo fi;
			MP3GetLastFrameInfo(mp3_dec, &fi);

			uint32_t elapsed_us = k_ticks_to_us_near32(k_uptime_ticks()) - t0_us;
			if (skipped_bytes || maindata_underflows || indata_underflows ||
			    other_errors || elapsed_us > 10000) {
				// LOG_WRN("mp3_decode_frame: %u us, skipped=%d maindata_uflow=%d "
				// 	"indata_uflow=%d other_err=%d samps=%d",
				// 	elapsed_us, skipped_bytes, maindata_underflows,
				// 	indata_underflows, other_errors, fi.outputSamps);
			}
			return fi.outputSamps;
		} else if (err == ERR_MP3_MAINDATA_UNDERFLOW) {
			maindata_underflows++;
			continue;
		} else if (err == ERR_MP3_INDATA_UNDERFLOW) {
			indata_underflows++;
			continue;
		} else {
			LOG_ERR("MP3Decode: other err: %d", err);
			other_errors++;
			/* Sync error or bad frame: skip 1 byte and resync */
			if (mp3_buf_len > 0) {
				memmove(mp3_buf, mp3_buf + 1, mp3_buf_len - 1);
				mp3_buf_len--;
			}
		}
	}

	/* Fallback: output silence for this iteration */
	uint32_t elapsed_us = k_ticks_to_us_near32(k_uptime_ticks()) - t0_us;
	LOG_WRN("mp3_decode_frame: decode failed after 8 attempts in %u us, "
		"buf_len=%d skipped=%d maindata_uflow=%d indata_uflow=%d other_err=%d",
		elapsed_us, mp3_buf_len, skipped_bytes, maindata_underflows, indata_underflows,
		other_errors);
	return 0;
}
```

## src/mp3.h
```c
#pragma once

#include "sdcard.h"
#include <stdint.h>

/* PCM decode buffer: one MPEG1 stereo frame = 1152 samples x 2 channels */
#define MP3_PCM_BUF_SAMPLES (2304)

/* Parse MP3 header from an open file, populating info fields.
 * Called by sdcard.c during enumeration. */
int mp3_parse_header(struct sdcard_audio_info *info);

/* Initialize the MP3 decoder. Call once at startup. */
int mp3_decoder_init(void);

/* Switch to decoding a new file, seeking to match global_sample_counter. */
int mp3_switch_file(struct sdcard_audio_info *info, uint64_t global_sample_counter);

/* Decode one frame into pcm_buf. Returns number of int16_t samples produced. */
int16_t mp3_decode_frame(int16_t *pcm_buf);
```

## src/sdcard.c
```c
#include <zephyr/logging/log.h>
#include <zephyr/fs/fs.h>
#include <string.h>
#include <stdio.h>

#include "sdcard.h"
#include "mp3.h"

LOG_MODULE_REGISTER(sdcard, CONFIG_APP_LOG_LEVEL);

#define MAX_AUDIO_FILES 100

static struct sdcard_audio_info audio_infos[MAX_AUDIO_FILES];
static int audio_file_count;

#define AUTOMOUNT_NODE DT_NODELABEL(ffs1)
FS_FSTAB_DECLARE_ENTRY(AUTOMOUNT_NODE);

static bool has_mp3_ext(const char *name)
{
	size_t len = strlen(name);
	if (len < 4) {
		return false;
	}
	const char *ext = name + len - 4;
	return ext[0] == '.' &&
	       (ext[1] == 'm' || ext[1] == 'M') &&
	       (ext[2] == 'p' || ext[2] == 'P') &&
	       (ext[3] == '3' || ext[3] == '3');
}

static void enumerate_audio_files(const char *path)
{
	struct fs_dir_t dir;
	struct fs_dirent entry;
	char filepath[256];

	fs_dir_t_init(&dir);
	if (fs_opendir(&dir, path) < 0) {
		LOG_ERR("Failed to open directory %s", path);
		return;
	}

	audio_file_count = 0;

	while (fs_readdir(&dir, &entry) == 0 && entry.name[0] != '\0') {
		if (entry.type != FS_DIR_ENTRY_FILE) {
			continue;
		}
		if (!has_mp3_ext(entry.name)) {
			continue;
		}

		snprintf(filepath, sizeof(filepath), "%s/%s", path, entry.name);

		if (audio_file_count >= MAX_AUDIO_FILES) {
			LOG_WRN("Too many MP3 files, ignoring %s", entry.name);
			continue;
		}

		struct sdcard_audio_info *info = &audio_infos[audio_file_count];
		strncpy(info->path, filepath, sizeof(info->path) - 1);
		info->path[sizeof(info->path) - 1] = '\0';

		fs_file_t_init(&info->file);
		int rc = fs_open(&info->file, filepath, FS_O_READ);
		if (rc < 0) {
			LOG_ERR("%s: failed to open: %d", entry.name, rc);
			continue;
		}

		if (mp3_parse_header(info) == 0) {
			uint32_t duration_s = info->total_samples / info->samplerate;
			LOG_INF("%s: %u Hz, %u ch, %u kbps, %u:%02u",
				entry.name,
				info->samplerate,
				info->channels,
				info->frame_bytes_num / (144 * 1000),
				duration_s / 60,
				duration_s % 60);
		} else {
			LOG_WRN("%s: failed to parse MP3 header", entry.name);
		}

		fs_seek(&info->file, info->data_start, FS_SEEK_SET);
		audio_file_count++;
	}

	fs_closedir(&dir);

	/* Sort alphabetically by path */
	for (int i = 1; i < audio_file_count; i++) {
		struct sdcard_audio_info tmp = audio_infos[i];
		int j = i - 1;
		while (j >= 0 && strcmp(audio_infos[j].path, tmp.path) > 0) {
			audio_infos[j + 1] = audio_infos[j];
			j--;
		}
		audio_infos[j + 1] = tmp;
	}
}

int sdcard_init(void)
{
	struct fs_mount_t *mp = &FS_FSTAB_ENTRY(AUTOMOUNT_NODE);
	struct fs_statvfs stat;

	if (fs_statvfs(mp->mnt_point, &stat) != 0) {
		LOG_ERR("SD card not mounted at %s", mp->mnt_point);
		return -EIO;
	}

	LOG_INF("SD card mounted at %s (%lu KB free)",
		mp->mnt_point,
		(unsigned long)stat.f_bfree * stat.f_frsize / 1024);

	enumerate_audio_files(mp->mnt_point);
	return 0;
}

int sdcard_get_audio_count(void)
{
	return audio_file_count;
}

struct sdcard_audio_info *sdcard_get_audio_info(int index)
{
	if (index < 0 || index >= audio_file_count) {
		return NULL;
	}
	return &audio_infos[index];
}
```

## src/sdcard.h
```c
#pragma once

#include <zephyr/fs/fs.h>

struct sdcard_audio_info {
	char           path[256];
	struct fs_file_t file;    /* kept open for fast seeking */
	uint32_t       samplerate;
	uint16_t       channels;
	uint32_t       total_samples;   /* total PCM samples (for modulo seeking) */
	off_t          data_start;      /* byte offset of first MP3 frame (after ID3) */
	uint32_t       frame_bytes_num; /* 144 * bitrate_bps — numerator for rational seek arithmetic */
	uint32_t       rg_multiplier_q16;  /* ReplayGain as Q16 linear multiplier */
};

int sdcard_init(void);
int sdcard_get_audio_count(void);
struct sdcard_audio_info *sdcard_get_audio_info(int index);
```
